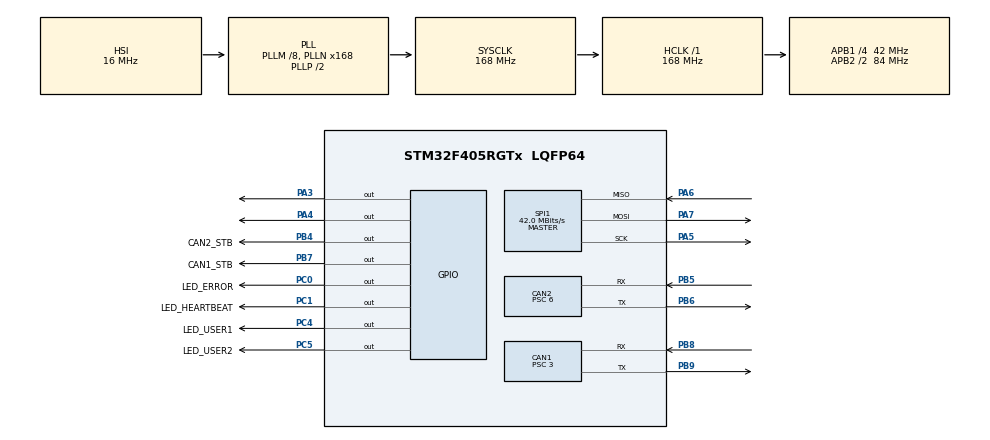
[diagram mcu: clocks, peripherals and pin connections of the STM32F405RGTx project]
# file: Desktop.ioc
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CAN1.BS1=CAN_BS1_11TQ
CAN1.BS2=CAN_BS2_2TQ
CAN1.CalculateBaudRate=1000000
CAN1.CalculateTimeBit=1000
CAN1.CalculateTimeQuantum=71.42857142857143
CAN1.Prescaler=3
CAN2.BS1=CAN_BS1_11TQ
CAN2.BS2=CAN_BS2_2TQ
CAN2.CalculateBaudRate=500000
CAN2.CalculateTimeBit=2000
CAN2.CalculateTimeQuantum=142.85714285714286
CAN2.Prescaler=6
Mcu.Family=STM32F4
Mcu.Name=STM32F405RGTx
Mcu.Package=LQFP64
NVIC.CAN1_RX0_IRQn=true\:0\:0\:false\:false\:true\:true\:true\:true
NVIC.PriorityGroup=NVIC_PRIORITYGROUP_4
NVIC.SPI1_IRQn=true\:0\:0\:false\:false\:true\:true\:true\:true
NVIC.TIM7_IRQn=true\:0\:0\:false\:false\:true\:true\:true\:true
PA13.Mode=Trace_Asynchronous_SW
PA13.Signal=SYS_JTMS-SWDIO
PA14.Mode=Trace_Asynchronous_SW
PA14.Signal=SYS_JTCK-SWCLK
PA3.Signal=GPIO_Output
PA4.Signal=GPIO_Output
PA5.Mode=Full_Duplex_Master
PA5.Signal=SPI1_SCK
PA6.Mode=Full_Duplex_Master
PA6.Signal=SPI1_MISO
PA7.Mode=Full_Duplex_Master
PA7.Signal=SPI1_MOSI
PB3.Mode=Trace_Asynchronous_SW
PB3.Signal=SYS_JTDO-SWO
PB4.GPIO_Label=CAN2_STB
PB4.Signal=GPIO_Output
PB5.Mode=CAN_Activate
PB5.Signal=CAN2_RX
PB6.Mode=CAN_Activate
PB6.Signal=CAN2_TX
PB7.GPIO_Label=CAN1_STB
PB7.Signal=GPIO_Output
PB8.Mode=CAN_Activate
PB8.Signal=CAN1_RX
PB9.Mode=CAN_Activate
PB9.Signal=CAN1_TX
PC0.GPIO_Label=LED_ERROR
PC0.Signal=GPIO_Output
PC1.GPIO_Label=LED_HEARTBEAT
PC1.Signal=GPIO_Output
PC4.GPIO_Label=LED_USER1
PC4.Signal=GPIO_Output
PC5.GPIO_Label=LED_USER2
PC5.Signal=GPIO_Output
PH0-OSC_IN.Mode=HSE-External-Oscillator
PH0-OSC_IN.Signal=RCC_OSC_IN
PH1-OSC_OUT.Mode=HSE-External-Oscillator
PH1-OSC_OUT.Signal=RCC_OSC_OUT
ProjectManager.HeapSize=0x200
ProjectManager.StackSize=0x400
ProjectManager.TargetToolchain=MDK-ARM V5.32
RCC.48MHZClocksFreq_Value=84000000
RCC.AHBFreq_Value=168000000
RCC.APB1CLKDivider=RCC_HCLK_DIV4
RCC.APB1Freq_Value=42000000
RCC.APB1TimFreq_Value=84000000
RCC.APB2CLKDivider=RCC_HCLK_DIV2
RCC.APB2Freq_Value=84000000
RCC.APB2TimFreq_Value=168000000
RCC.CortexFreq_Value=168000000
RCC.HCLKFreq_Value=168000000
RCC.HSE_VALUE=12000000
RCC.HSI_VALUE=16000000
RCC.LSE_VALUE=32768
RCC.PLLM=8
RCC.PLLN=168
RCC.SYSCLKFreq_VALUE=168000000
RCC.SYSCLKSource=RCC_SYSCLKSOURCE_PLLCLK
RCC.VCOOutputFreq_Value=336000000
SPI1.CalculateBaudRate=42.0 MBits/s
SPI1.Direction=SPI_DIRECTION_2LINES
SPI1.Mode=SPI_MODE_MASTER
SPI1.VirtualType=VM_MASTER
TIM2.AutoReloadPreload=TIM_AUTORELOAD_PRELOAD_ENABLE
TIM2.Period=10000
TIM2.Prescaler=84
TIM3.AutoReloadPreload=TIM_AUTORELOAD_PRELOAD_ENABLE
TIM3.Period=500
TIM3.Prescaler=84
TIM5.AutoReloadPreload=TIM_AUTORELOAD_PRELOAD_ENABLE
TIM5.Period=10000
TIM5.Prescaler=84
TIM7.AutoReloadPreload=TIM_AUTORELOAD_PRELOAD_DISABLE
TIM7.Period=5000
TIM7.Prescaler=8399
TIM8.AutoReloadPreload=TIM_AUTORELOAD_PRELOAD_ENABLE
TIM8.Period=500
TIM8.Prescaler=168
VP_TIM2_VS_ClockSourceINT.Mode=Internal
VP_TIM3_VS_ClockSourceINT.Mode=Internal
VP_TIM5_VS_ClockSourceINT.Mode=Internal
VP_TIM7_VS_ClockSourceINT.Mode=Enable_Timer
VP_TIM8_VS_ClockSourceINT.Mode=Internal
board=custom

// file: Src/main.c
/* USER CODE BEGIN Header */
/**
  ******************************************************************************
  * @file           : main.c
  * @brief          : Main program body
  ******************************************************************************
  * @attention
  *
  * Copyright (c) 2024 STMicroelectronics.
  * All rights reserved.
  *
  * This software is licensed under terms that can be found in the LICENSE file
  * in the root directory of this software component.
  * If no LICENSE file comes with this software, it is provided AS-IS.
  *
  ******************************************************************************
  */
/* USER CODE END Header */
#include "main.h"
#include "can.h"
#include "spi.h"
#include "tim.h"
#include "gpio.h"

void SystemClock_Config(void);

/* USER CODE BEGIN 0 */

// Beispiel Initialisierungssequenz für den ADC

void ADC_Init(void)
{
		uint8_t reset_command[3] = {0x06, 0x00, 0x00}; // RESET Befehl
		uint8_t stop_read_command[3] = {0x11, 0x00, 0x00}; // STOP Lesen
		uint8_t unlock_command[3] = {0xAA, 0x00, 0x00}; // UNLOCK Befehl
		uint8_t config_command[3] = {0x40, 0x00, 0x01}; // Beispielkonfiguration

    // Sende RESET Befehl
    HAL_SPI_Transmit(&hspi1, reset_command, sizeof(reset_command), HAL_MAX_DELAY);
    HAL_Delay(10); // Wartezeit nach dem Reset

    // Stoppe Lesen
    HAL_SPI_Transmit(&hspi1, stop_read_command, sizeof(stop_read_command), HAL_MAX_DELAY);

    // Entsperre die Konfiguration
    HAL_SPI_Transmit(&hspi1, unlock_command, sizeof(unlock_command), HAL_MAX_DELAY);

    // Konfigurationsregister setzen (Beispiel)
    HAL_SPI_Transmit(&hspi1, config_command, sizeof(config_command), HAL_MAX_DELAY);
}

void ADC_ReadData(uint8_t* buffer, uint16_t size)
{
    // Daten vom ADC empfangen
    HAL_SPI_Receive(&hspi1, buffer, size, HAL_MAX_DELAY);
}

/* USER CODE END 0 */

int main(void)
{

  /* MCU Configuration--------------------------------------------------------*/

  /* Reset of all peripherals, Initializes the Flash interface and the Systick. */
  HAL_Init();

  /* Configure the system clock */
  SystemClock_Config();

  /* Initialize all configured peripherals */
  MX_GPIO_Init();
  MX_CAN1_Init();
  MX_CAN2_Init();
  MX_TIM2_Init();
  MX_TIM3_Init();
  MX_TIM5_Init();
  MX_TIM8_Init();
  MX_SPI1_Init();
  MX_TIM7_Init();
  /* USER CODE BEGIN 2 */
	// ADC Initialisierung
  ADC_Init();

  uint8_t adc_data[8];
  /* USER CODE END 2 */

  /* Infinite loop */
  /* USER CODE BEGIN WHILE */
  while (1)
  {
		// Daten vom ADC lesen
        ADC_ReadData(adc_data, sizeof(adc_data));

        // Datenverarbeitung hier

        HAL_Delay(100); // Beispielhaftes Delay
    /* USER CODE END WHILE */

  }
}

void SystemClock_Config(void)
{
  RCC_OscInitTypeDef RCC_OscInitStruct = {0};
  RCC_ClkInitTypeDef RCC_ClkInitStruct = {0};

  /** Configure the main internal regulator output voltage
  */
  __HAL_RCC_PWR_CLK_ENABLE();
  __HAL_PWR_VOLTAGESCALING_CONFIG(PWR_REGULATOR_VOLTAGE_SCALE1);

  /** Initializes the RCC Oscillators according to the specified parameters
  * in the RCC_OscInitTypeDef structure.
  */
  RCC_OscInitStruct.OscillatorType = RCC_OSCILLATORTYPE_HSI;
  RCC_OscInitStruct.HSIState = RCC_HSI_ON;
  RCC_OscInitStruct.HSICalibrationValue = RCC_HSICALIBRATION_DEFAULT;
  RCC_OscInitStruct.PLL.PLLState = RCC_PLL_ON;
  RCC_OscInitStruct.PLL.PLLSource = RCC_PLLSOURCE_HSI;
  RCC_OscInitStruct.PLL.PLLM = 8;
  RCC_OscInitStruct.PLL.PLLN = 168;
  RCC_OscInitStruct.PLL.PLLP = RCC_PLLP_DIV2;
  RCC_OscInitStruct.PLL.PLLQ = 4;
  if (HAL_RCC_OscConfig(&RCC_OscInitStruct) != HAL_OK)
  {
    Error_Handler();
  }

  /** Initializes the CPU, AHB and APB buses clocks
  */
  RCC_ClkInitStruct.ClockType = RCC_CLOCKTYPE_HCLK|RCC_CLOCKTYPE_SYSCLK
                              |RCC_CLOCKTYPE_PCLK1|RCC_CLOCKTYPE_PCLK2;
  RCC_ClkInitStruct.SYSCLKSource = RCC_SYSCLKSOURCE_PLLCLK;
  RCC_ClkInitStruct.AHBCLKDivider = RCC_SYSCLK_DIV1;
  RCC_ClkInitStruct.APB1CLKDivider = RCC_HCLK_DIV4;
  RCC_ClkInitStruct.APB2CLKDivider = RCC_HCLK_DIV2;

  if (HAL_RCC_ClockConfig(&RCC_ClkInitStruct, FLASH_LATENCY_5) != HAL_OK)
  {
    Error_Handler();
  }
}

void Error_Handler(void)
{
  __disable_irq();
  while (1)
  {
  }
}
